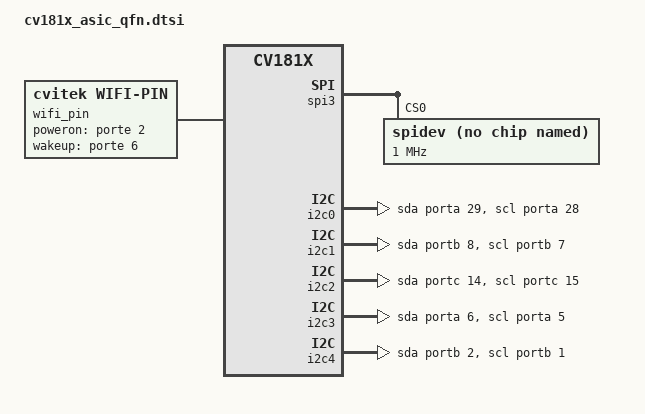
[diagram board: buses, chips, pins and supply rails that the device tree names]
&sd {
	no-1-8-v;
};

&mipi_rx{
	snsr-reset = <&portc 13 GPIO_ACTIVE_LOW>, <&portc 13 GPIO_ACTIVE_LOW>, <&portc 13 GPIO_ACTIVE_LOW>;
};

&mipi_tx {
	reset-gpio = <&porta 15 GPIO_ACTIVE_LOW>;
	pwm-gpio = <&porta 18 GPIO_ACTIVE_HIGH>;
	power-ct-gpio = <&porta 19 GPIO_ACTIVE_HIGH>;
};

&dac{
	mute-gpio-r = <&porte 2 GPIO_ACTIVE_LOW>;
};

&spi0 {
	status = "disabled";
	num-cs = <1>;
	spidev@0 {
		compatible = "rohm,dh2228fv";
		spi-max-frequency = <1000000>;
		reg = <0>;
	};
};

&spi1 {
	status = "disabled";
	num-cs = <1>;
	spidev@0 {
		compatible = "rohm,dh2228fv";
		spi-max-frequency = <1000000>;
		reg = <0>;
	};
};

&spi2 {
	status = "disabled";
	num-cs = <1>;
	spidev@0 {
	compatible = "rohm,dh2228fv";
		spi-max-frequency = <1000000>;
		reg = <0>;
	};
};

&spi3 {
	status = "okay";
	num-cs = <1>;
	spidev@0 {
		compatible = "rohm,dh2228fv";
		spi-max-frequency = <1000000>;
		reg = <0>;
	};
};

#ifndef CONFIG_PM
&i2c0 {
	/* FMUX_GPIO_REG iic_func_sel gpio_func_sel */
	scl-pinmux = <0x03001070 0x0 0x3>;	// IIC0_SCL/IIC0_SCL/XGPIOA[28]
	sda-pinmux = <0x03001074 0x0 0x3>;	// IIC0_SDA/IIC0_SDA/XGPIOA[29]
	/* gpio port */
	scl-gpios = <&porta 28 GPIO_ACTIVE_HIGH>;
	sda-gpios = <&porta 29 GPIO_ACTIVE_HIGH>;
};

&i2c1 {
	/* FMUX_GPIO_REG iic_func_sel gpio_func_sel */
	scl-pinmux = <0x03009408 0x2 0x3>;	// SPI1_MOSI/IIC1_SCL/XGPIOB[7]
	sda-pinmux = <0x0300940c 0x2 0x3>;	// SPI1_MISO/IIC1_SDA/XGPIOB[8]
	/* gpio port */
	scl-gpios = <&portb 7 GPIO_ACTIVE_HIGH>;
	sda-gpios = <&portb 8 GPIO_ACTIVE_HIGH>;
};

&i2c2 {
	/* FMUX_GPIO_REG iic_func_sel gpio_func_sel */
	scl-pinmux = <0x030011a0 0x4 0x3>;	// PAD_MIPI_TXP1/IIC2_SCL/XGPIOC[15]
	sda-pinmux = <0x0300119c 0x4 0x3>;	// PAD_MIPI_TXM1/IIC2_SDA/XGPIOC[14]
	/* gpio port */
	scl-gpios = <&portc 15 GPIO_ACTIVE_HIGH>;
	sda-gpios = <&portc 14 GPIO_ACTIVE_HIGH>;
};

&i2c3 {
	/* FMUX_GPIO_REG iic_func_sel gpio_func_sel */
	scl-pinmux = <0x03001014 0x0 0x3>;	// IIC3_SCL/IIC3_SCL/XGPIOA[5]
	sda-pinmux = <0x03001018 0x0 0x3>;	// IIC3_SDA/IIC3_SDA/XGPIOA[6]
	/* gpio port */
	scl-gpios = <&porta 5 GPIO_ACTIVE_HIGH>;
	sda-gpios = <&porta 6 GPIO_ACTIVE_HIGH>;
};

&i2c4 {
	/* FMUX_GPIO_REG iic_func_sel gpio_func_sel */
	scl-pinmux = <0x030010f0 0x2 0x3>;	// ADC3/IIC4_SCL/XGPIOB[1]
	sda-pinmux = <0x030010f4 0x2 0x3>;	// ADC2/IIC4_SDA/XGPIOB[2]
	/* gpio port */
	scl-gpios = <&portb 1 GPIO_ACTIVE_HIGH>;
	sda-gpios = <&portb 2 GPIO_ACTIVE_HIGH>;
};
#endif

/ {
	/delete-node/ wifi-sd@4320000;
	/delete-node/ i2s@04110000;
	/delete-node/ i2s@04120000;
	/delete-node/ sound_ext1;
	/delete-node/ sound_ext2;
	/delete-node/ sound_PDM;

	wifi_pin {
		compatible = "cvitek,wifi-pin";
		poweron-gpio = <&porte 2 GPIO_ACTIVE_HIGH>;
		wakeup-gpio = <&porte 6 GPIO_ACTIVE_HIGH>;
	};

};
